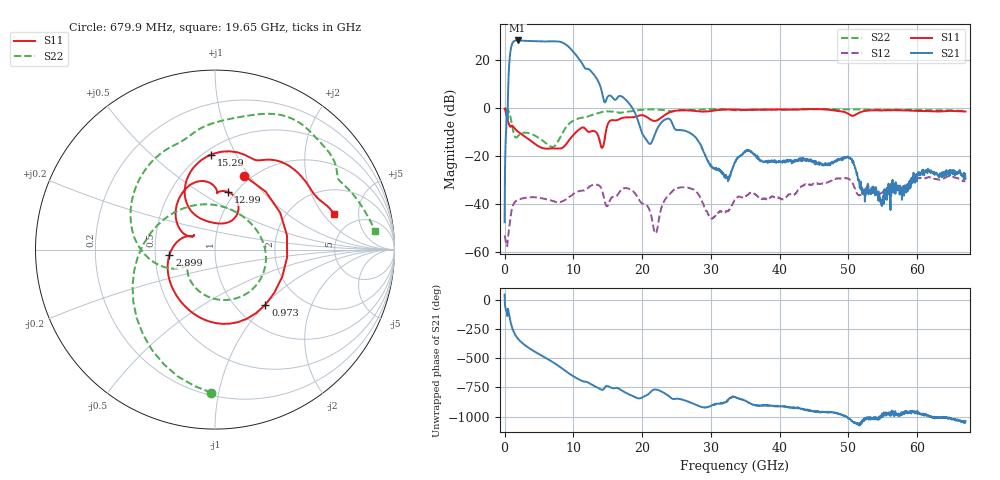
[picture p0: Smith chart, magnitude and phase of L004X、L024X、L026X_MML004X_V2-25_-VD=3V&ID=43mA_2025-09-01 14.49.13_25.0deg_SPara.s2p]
!Keysight Technologies,N5247B,MY63057157,A.17.10.07
!Date: Monday, September 01, 2025 14:56:12
!Correction: S11(C  2-Port  )
!S21(C  2-Port  )
!S12(C  2-Port  )
!S22(C  2-Port  )
!S2P File: Measurements: S11, S21, S12, S22:
# Hz S  dB  R 50
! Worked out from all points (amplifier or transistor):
!   1601 points, 10 MHz to 67 GHz, reference 50 ohm
!   highest |S21| = 28.0 dB at 1.894 GHz (marker M1)
!   |S21| within 3 dB of that: 949.6 MHz to 9.444 GHz (8.494 GHz wide, 163 % of centre)
!   unconditionally stable (mu >= 1): start of sweep to end of sweep
!   at 11.15 GHz: K = 1.80, MAG = 21.6 dB, |S12| = -34.5 dB
!   at 33.51 GHz: K = 19.48, MAG = -8.1 dB, |S12| = -38.4 dB
!   at 67 GHz: K = 37.88, MAG = -18.3 dB, |S12| = -30.5 dB
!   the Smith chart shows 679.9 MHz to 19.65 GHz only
!   S11 on the Smith chart (normalised r, x): 679.9 MHz: 0.92, +0.95; 973 MHz: 1.35, -1.00; 2.899 GHz: 0.59, -0.04; 12.99 GHz: 0.93, +0.67; 15.29 GHz: 0.54, +0.80; 19.65 GHz: 3.43, +2.60
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1e7  -0.46 -26.7  -47.61 43.3  -53.13 -82.3  -0.07 -11.7
6.799e8  -7.08 68.4  18.16 -134.4  -49.63 -137.1  -1.97 -91.5
9.729812e8  -7.62 -47.6  25.34 147.1  -43.65 160.0  -5.35 -147.4
1.391669e9  -8.33 -104.9  27.75 77.2  -39.65 106.4  -11.14 118.7
1.894094e9  -9.79 -135.3  28.01 29.5  -38.36 73.7  -11.98 29.7
2.898944e9  -11.86 -173.5  27.87 -26.9  -37.56 40.3  -10.36 -39.9
3.778188e9  -13.67 165.4  27.76 -62.9  -37.23 22.2  -10.80 -76.5
4.741169e9  -15.68 152.9  27.64 -97.5  -37.32 6.9  -12.11 -110.9
5.787888e9  -16.92 149.6  27.58 -132.5  -37.90 -4.8  -14.20 -141.8
7.002081e9  -16.92 146.4  27.67 -174.3  -38.78 -11.1  -16.29 -153.9
7.881325e9  -16.99 145.5  27.56 151.5  -39.38 -10.1  -13.44 -151.7
8.844306e9  -15.54 153.1  26.45 110.4  -38.23 -4.5  -8.51 -173.1
9.932894e9  -11.53 143.9  23.50 66.6  -36.05 -9.6  -5.46 150.7
1.118896e10  -8.36 112.9  18.86 26.4  -34.49 -26.3  -4.17 116.7
1.298931e10  -9.64 77.1  13.79 -16.6  -32.03 -55.0  -2.79 85.3
1.529209e10  -5.52 92.5  5.14 -28.0  -38.72 -61.8  -1.54 46.4
1.964644e10  -3.19 16.5  -7.68 -125.1  -38.65 -140.5  -0.94 6.5
2.236791e10  -4.95 2.1  -7.86 -54.4  -47.59 5.2  -0.76 -18.5
3.3505e10  -0.76 -80.2  -22.87 -112.7  -38.40 -123.9  -1.03 -74.2
4.468396e10  -0.54 -124.7  -22.51 123.5  -32.11 171.4  -0.59 -109.6
5.586291e10  -1.02 -152.5  -35.01 99.5  -32.98 122.5  -0.78 -142.5
6.7e10  -1.54 179.2  -29.55 41.3  -30.53 47.8  -1.26 -175.7
